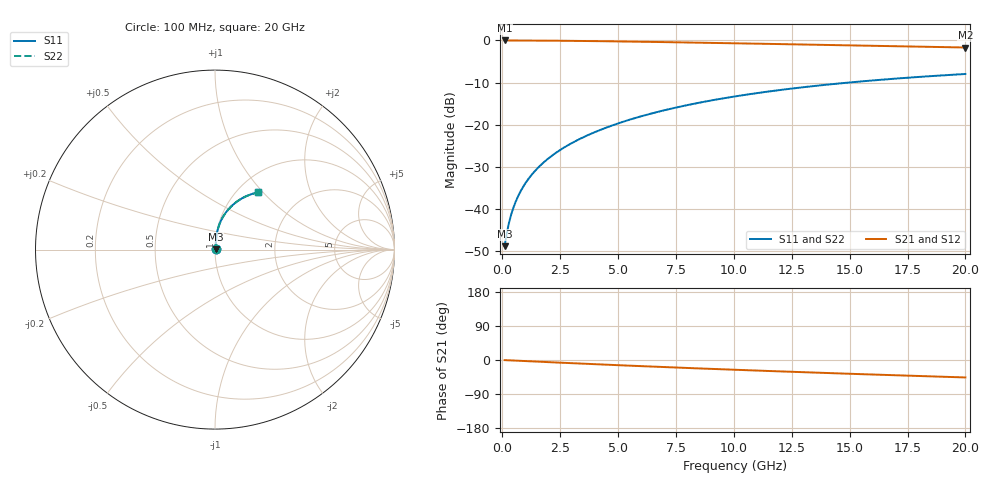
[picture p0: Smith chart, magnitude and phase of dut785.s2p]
! Touchstone file exported from HFSS 2024.1.0
!  File:  C:/UserFiles/LocalFiles/RDL_TSV_Batchsim/temp_RDL_top_785_1779853129.aedt
!  Generated:  11:41:10 AM May 27, 2026
!  Design:  RDL_top
!  Project:  temp_RDL_top_785_1779853129
!  Setup:  Setup1
!  Solution:  Sweep
! Variables:
!  dtsv = 10.80580581um
!  hbump = 3um
!  htsv = 96.69um
!  ldown = 100um
!  lrdl = 637.7um
!  p = 40
!  p1 = 56.55um
!  rhole = 1um
!  t = 450um
!  tdown = 3.915915916um
!  trdl = 3.52um
!  wdown = 15.38538539um
!  wrdl = 24.01um
# GHz S MA R 50.000000
! Terminal data exported
! Port[1] = Box2_T1
! Port[2] = Box2_T2
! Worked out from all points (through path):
!   200 points, 100 MHz to 20 GHz, reference 50 ohm
!   highest |S21| = -0.03 dB at 100 MHz (marker M1); lowest = -1.7 dB at 20 GHz (marker M2)
!   group delay of S21, straight-line fit = 6.34 ps
!   lowest |S11| = -48.8 dB at 100 MHz (marker M3), VSWR 1.01, Z = 50.3 + j0.22 ohm
!   |S11| at or under -10 dB: start of sweep to 14.98 GHz
!   |S22| runs from -48.8 to -8.0 dB; largest |S21 - S12| = 1.7e-14
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0.1  0.00362 37.2  0.9971 -0.3  0.9971 -0.3  0.00362 37.2
! Gamma 0 0 0 0
! Port Impedance 50 0 50 0
0.2  0.005254 54.6  0.9969 -0.6  0.9969 -0.6  0.005254 54.6
0.3  0.007058 63.0  0.9967 -0.9  0.9967 -0.9  0.007058 63.0
0.4  0.008892 67.9  0.9965 -1.2  0.9965 -1.2  0.008892 67.9
0.5  0.01074 71.3  0.9963 -1.4  0.9963 -1.4  0.01074 71.3
0.6  0.01261 73.7  0.9961 -1.7  0.9961 -1.7  0.01261 73.7
0.8  0.01639 77.1  0.9957 -2.3  0.9957 -2.3  0.01639 77.1
1.1  0.02216 80.0  0.995 -3.1  0.995 -3.1  0.02216 80.0
1.3  0.02606 81.2  0.9944 -3.7  0.9944 -3.7  0.02606 81.2
1.6  0.03196 82.5  0.9934 -4.5  0.9934 -4.5  0.03196 82.5
2.1  0.04196 83.6  0.9914 -5.9  0.9914 -5.9  0.04197 83.6
2.7  0.05421 84.1  0.9883 -7.6  0.9883 -7.6  0.05421 84.1
3.5  0.07094 84.1  0.9833 -9.7  0.9833 -9.7  0.07094 84.1
4.2  0.08594 83.7  0.9781 -11.6  0.9781 -11.6  0.08594 83.7
5  0.1034 82.8  0.9716 -13.7  0.9716 -13.7  0.1034 82.8
6.8  0.1437 80.1  0.9553 -18.2  0.9553 -18.2  0.1437 80.1
8.4  0.1798 77.0  0.9397 -22.0  0.9397 -22.0  0.1798 77.0
10.1  0.2174 73.4  0.9225 -25.9  0.9225 -25.9  0.2174 73.4
11.7  0.2515 70.0  0.9061 -29.4  0.9061 -29.4  0.2516 70.0
13.4  0.286 66.3  0.8887 -33.1  0.8887 -33.1  0.2861 66.3
16.7  0.3469 59.4  0.8551 -39.7  0.8551 -39.7  0.3469 59.4
20  0.3991 52.9  0.8225 -46.0  0.8225 -46.0  0.3991 52.9
